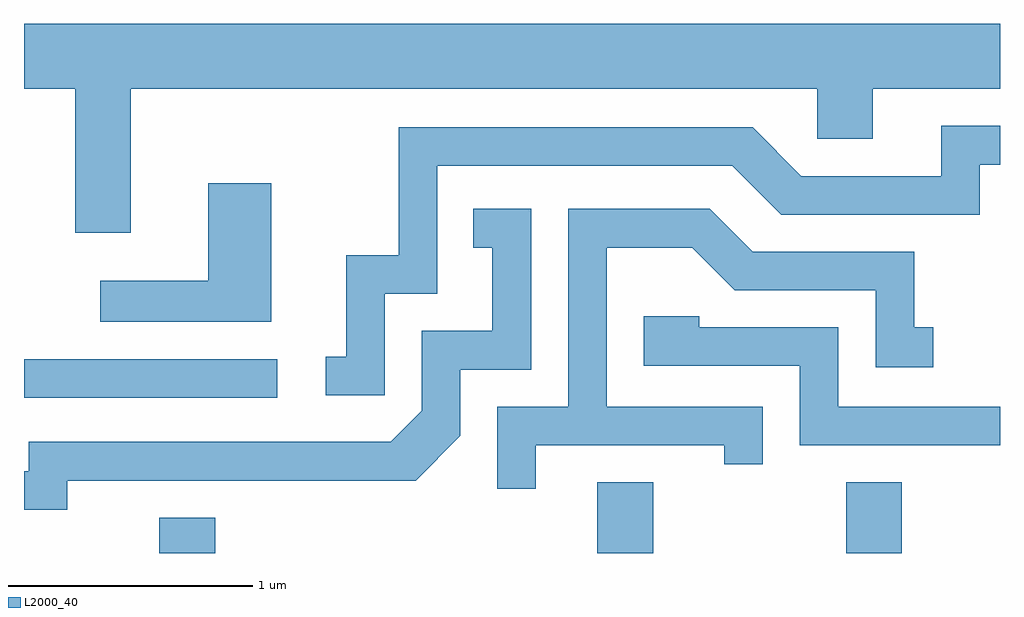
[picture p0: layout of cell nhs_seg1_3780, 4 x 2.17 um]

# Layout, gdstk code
import gdstk
lib = gdstk.Library(unit=1e-6, precision=1e-09)
def R(c, l, rs):  # rectangles x0, y0, x1, y1
    for r in rs: c.add(gdstk.rectangle(r[:2], r[2:], *l))
def P(c, l, *ps):  # polygons
    for p in ps: c.add(gdstk.Polygon(p, *l))
L2000_40 = (2000, 40)

nhs_seg1_3780 = lib.new_cell('nhs_seg1_3780')
R(nhs_seg1_3780, L2000_40, [(300.166,857.712,300.394,857.859), (301.961,857.712,302.189,858.004), (302.981,857.712,303.209,858.004), (299.611,858.351,300.648,858.509)])
P(nhs_seg1_3780, L2000_40, [(300.049,859.616),(302.861,859.616),(302.861,859.411),(303.089,859.411),(303.089,859.616),(303.611,859.616),(303.611,859.884),(299.611,859.884),(299.611,859.616),(299.821,859.616),(299.821,859.026),(300.049,859.026)],
  [(301.089,858.776),(301.304,858.776),(301.304,859.301),(302.514,859.301),(302.714,859.101),(303.529,859.101),(303.529,859.306),(303.611,859.306),(303.611,859.464),(303.371,859.464),(303.371,859.259),(302.797,859.259),(302.597,859.459),(301.146,859.459),(301.146,858.934),(300.931,858.934),(300.931,858.519),(300.848,858.519),(300.848,858.361),(301.089,858.361)],
  [(300.624,859.229),(300.366,859.229),(300.366,858.829),(299.923,858.829),(299.923,858.661),(300.624,858.661)],
  [(301.709,858.156),(302.481,858.156),(302.481,858.078),(302.639,858.078),(302.639,858.314),(301.999,858.314),(301.999,858.966),(302.349,858.966),(302.524,858.791),(303.101,858.791),(303.101,858.476),(303.338,858.476),(303.338,858.639),(303.259,858.639),(303.259,858.949),(302.597,858.949),(302.422,859.124),(301.841,859.124),(301.841,858.314),(301.551,858.314),(301.551,857.978),(301.709,857.978)],
  [(299.789,858.011),(301.217,858.011),(301.399,858.194),(301.399,858.466),(301.689,858.466),(301.689,859.124),(301.453,859.124),(301.453,858.966),(301.531,858.966),(301.531,858.624),(301.241,858.624),(301.241,858.297),(301.114,858.169),(299.631,858.169),(299.631,858.049),(299.611,858.049),(299.611,857.891),(299.789,857.891)],
  [(303.611,858.314),(302.949,858.314),(302.949,858.639),(302.379,858.639),(302.379,858.684),(302.151,858.684),(302.151,858.481),(302.791,858.481),(302.791,858.156),(303.611,858.156)])

lib.write_gds('nhs_seg1_3780.gds')
